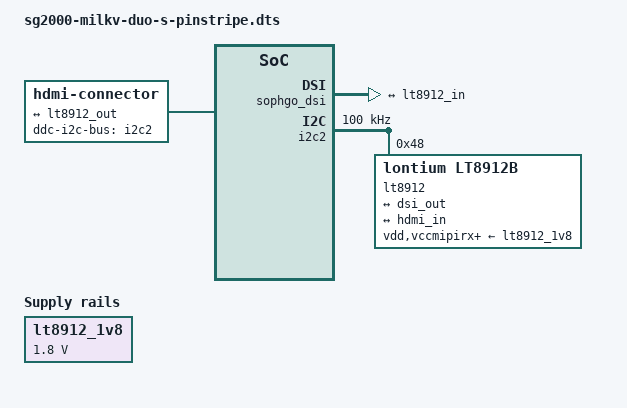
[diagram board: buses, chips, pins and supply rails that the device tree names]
// SPDX-License-Identifier: (GPL-2.0 OR MIT)
#include "sg2000-milkv-duo-s-riscv.dts"

/* Opt-in display graph for the manual test-pattern host; ordinary images omit it.
 * IIC2 uses SG2000 BGA J13/J14, function 0, fixed 1.8 V with 10k pull-ups
 * (drivers/pinctrl/sophgo/pinctrl-sg2000.c).
 */
#define DUOS_IIC2_SCL PINPOS('J', 13)
#define DUOS_IIC2_SDA PINPOS('J', 14)
/ { aliases { i2c2 = &i2c2; }; };
&pinctrl {
	iic2_cfg: iic2-cfg {
		iic2-scl-pins {
			pinmux = <PINMUX(DUOS_IIC2_SCL, 0)>;
			power-source = <1800>;
		};
		iic2-sda-pins {
			pinmux = <PINMUX(DUOS_IIC2_SDA, 0)>;
			power-source = <1800>;
		};
	};
};

/* Windows from osdrv aa542c41 vpss_core.c:_init_resources, base.c:base_probe
 * and scaler_reg.h. Register-interface clock 128 (CLK_CFG_REG_VIP) must stay
 * on both the syscon and the DSI host: mfd/syscon enables it around each
 * regmap access and the host holds it across its direct accesses.
 */
/ {
	soc {
		vip_sys: syscon@a0c8000 {
			compatible = "sophgo,sg2000-vip-sys", "syscon";
			reg = <0x0a0c8000 0x1000>;
			clocks = <&clk CLK_CFG_REG_VIP>;
		};

		sophgo_dsi: dsi@a080000 {
			compatible = "sophgo,sg2000-dsi";
			reg = <0x0a080000 0x1000>,
			      <0x0a088000 0x1000>,
			      <0x0a08a000 0x1000>,
			      <0x0a0d1000 0x1000>;
			reg-names = "sc_top", "disp", "dsi_mac", "dphy";
			sophgo,vip-sys = <&vip_sys>;
			clocks = <&clk CLK_SC_TOP_VIP>,
				 <&clk CLK_DISP_VIP>, <&clk CLK_DSI_MAC_VIP>,
				 <&clk CLK_DSI_ESC>, <&clk CLK_DISPPLL>,
				 <&clk CLK_DISP_SRC_VIP>, <&clk CLK_DSI_SYNTH_SRC>,
				 <&clk CLK_AXI6>, <&clk CLK_CFG_REG_VIP>;
			clock-names = "sc_top", "clk_disp", "clk_dsi", "dsi_esc",
				      "disppll", "disp_src", "dsi_src", "esc_parent", "cfg_reg";
			port {
				dsi_out: endpoint {
					data-lanes = <0 1 2 3>;
					remote-endpoint = <&lt8912_in>;
				};
			};
		};
	};
};

/* NixVegas/pcb d97cfc1d2f50a0447eaf80c7d025e58900b8f5e6, kicad/hdmi.kicad_sch:
 * U16 RESET_N is an RC power-on reset (R77 10k, C47 100n) with no CPU GPIO,
 * so the bridge has no reset-gpios and is stopped through its own register.
 * +1V8 feeds VDD, VCCA and VCCA_HDMIPLL through L4, L3 and L2 with no enables.
 */
/ {
	lt8912_1v8: regulator-lt8912-1v8 {
		compatible = "regulator-fixed";
		regulator-name = "lt8912-board-1v8";
		regulator-min-microvolt = <1800000>;
		regulator-max-microvolt = <1800000>;
		regulator-always-on;
	};

	hdmi: hdmi-connector {
		compatible = "hdmi-connector";
		type = "a";
		/* U1 and U16 share I2C_SENSOR1 through FET1/FET2 to HDMI pins
		 * 15/16; HPD reaches U16 through Q12, not the CPU.
		 */
		ddc-i2c-bus = <&i2c2>;
		port {
			hdmi_in: endpoint {
				remote-endpoint = <&lt8912_out>;
			};
		};
	};
};

&i2c2 {
	status = "okay";
	clock-frequency = <100000>;
	pinctrl-0 = <&iic2_cfg>;
	pinctrl-names = "default";
	lt8912: bridge@48 {
		compatible = "lontium,lt8912b";
		reg = <0x48>;
		vdd-supply = <&lt8912_1v8>;
		vccmipirx-supply = <&lt8912_1v8>;
		vccsysclk-supply = <&lt8912_1v8>;
		vcclvdstx-supply = <&lt8912_1v8>;
		vcchdmitx-supply = <&lt8912_1v8>;
		vcclvdspll-supply = <&lt8912_1v8>;
		vcchdmipll-supply = <&lt8912_1v8>;
		ports {
			#address-cells = <1>;
			#size-cells = <0>;
			port@0 {
				reg = <0>;
				lt8912_in: endpoint {
					data-lanes = <0 1 2 3>;
					remote-endpoint = <&dsi_out>;
				};
			};
			port@1 {
				reg = <1>;
				lt8912_out: endpoint {
					remote-endpoint = <&hdmi_in>;
				};
			};
		};
	};
};
